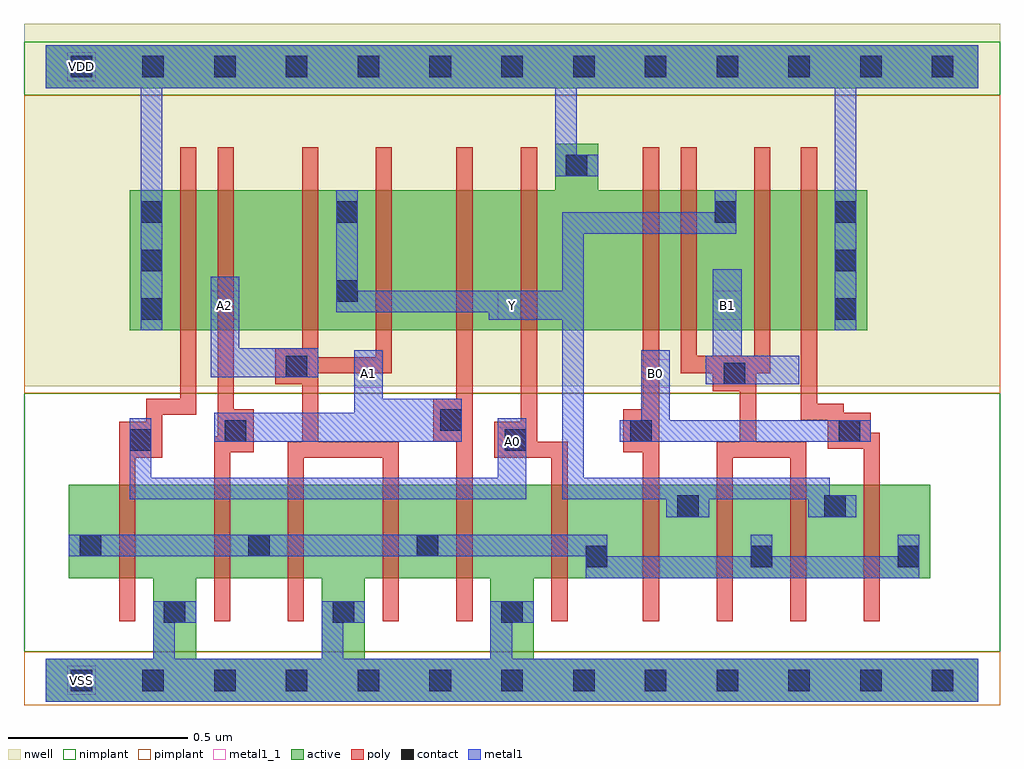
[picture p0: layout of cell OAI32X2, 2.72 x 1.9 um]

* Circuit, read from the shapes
.subckt OAI32X2 A0 A1 A2 B0 B1 VDD VSS Y
M1 VSS A0 n1 VSS nfet w=0.26u l=0.045u m=2
M2 n1 A1 VSS VSS nfet w=0.26u l=0.045u m=2
M3 VSS A2 n1 VSS nfet w=0.26u l=0.045u m=2
M4 Y B0 n1 VSS nfet w=0.26u l=0.045u m=2
M5 n1 B1 Y VSS nfet w=0.26u l=0.045u m=2
M6 n2 A0 VDD VDD pfet w=0.39u l=0.045u
M7 n3 A1 n2 VDD pfet w=0.39u l=0.045u
M8 Y A2 n3 VDD pfet w=0.39u l=0.045u
M9 n4 A2 Y VDD pfet w=0.39u l=0.045u
M10 n5 A1 n4 VDD pfet w=0.39u l=0.045u
M11 VDD A0 n5 VDD pfet w=0.39u l=0.045u
M12 n6 B0 VDD VDD pfet w=0.39u l=0.045u
M13 Y B1 n6 VDD pfet w=0.39u l=0.045u
M14 n7 B1 Y VDD pfet w=0.39u l=0.045u
M15 VDD B0 n7 VDD pfet w=0.39u l=0.045u
.ends

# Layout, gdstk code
import gdstk
lib = gdstk.Library(unit=1e-6, precision=5e-10)
def R(c, l, rs):  # rectangles x0, y0, x1, y1
    for r in rs: c.add(gdstk.rectangle(r[:2], r[2:], *l))
def A(c, l, x, y, w, h, nx, ny, dx, dy):  # array of equal rectangles
    R(c, l, [(x+i*dx, y+j*dy, x+i*dx+w, y+j*dy+h) for i in range(nx) for j in range(ny)])
def P(c, l, *ps):  # polygons
    for p in ps: c.add(gdstk.Polygon(p, *l))
active = (1, 0)
nwell = (2, 0)
poly = (3, 0)
nimplant = (4, 0)
pimplant = (5, 0)
contact = (6, 0)
metal1 = (7, 0)
metal1_1 = (7, 1)

oai32x2 = lib.new_cell('OAI32X2')
R(oai32x2, active, [(0,1.65,2.6,1.77)])
P(oai32x2, active, [(1.42,1.495),(1.54,1.495),(1.54,1.365),(2.29,1.365),(2.29,0.975),(0.235,0.975),(0.235,1.365),(1.42,1.365)],
  [(0.065,0.545),(2.465,0.545),(2.465,0.285),(1.36,0.285),(1.36,0.06),(2.6,0.06),(2.6,-0.06),(0,-0.06),(0,0.06),(0.3,0.06),(0.3,0.285),(0.42,0.285),(0.42,0.06),(0.77,0.06),(0.77,0.285),(0.89,0.285),(0.89,0.06),(1.24,0.06),(1.24,0.285),(0.065,0.285)])
R(oai32x2, nwell, [(-0.06,0.82,2.66,1.83)])
P(oai32x2, poly, [(0.375,1.485),(0.42,1.485),(0.42,0.74),(0.325,0.74),(0.325,0.62),(0.25,0.62),(0.25,0.165),(0.205,0.165),(0.205,0.72),(0.28,0.72),(0.28,0.785),(0.375,0.785)],
  [(0.48,1.485),(0.525,1.485),(0.525,0.755),(0.58,0.755),(0.58,0.635),(0.515,0.635),(0.515,0.165),(0.47,0.165),(0.47,0.68),(0.48,0.68)],
  [(0.715,1.485),(0.76,1.485),(0.76,0.9),(0.92,0.9),(0.92,1.485),(0.965,1.485),(0.965,0.855),(0.76,0.855),(0.76,0.665),(0.985,0.665),(0.985,0.165),(0.94,0.165),(0.94,0.62),(0.72,0.62),(0.72,0.165),(0.675,0.165),(0.675,0.665),(0.715,0.665),(0.715,0.825),(0.64,0.825),(0.64,0.925),(0.715,0.925)],
  [(1.145,1.485),(1.19,1.485),(1.19,0.165),(1.145,0.165),(1.145,0.665),(1.08,0.665),(1.08,0.785),(1.145,0.785)],
  [(1.325,1.485),(1.37,1.485),(1.37,0.665),(1.455,0.665),(1.455,0.165),(1.41,0.165),(1.41,0.62),(1.25,0.62),(1.25,0.72),(1.325,0.72)],
  [(1.665,1.485),(1.71,1.485),(1.71,0.165),(1.665,0.165),(1.665,0.635),(1.61,0.635),(1.61,0.755),(1.665,0.755)],
  [(1.77,1.485),(1.815,1.485),(1.815,0.905),(1.975,0.905),(1.975,1.485),(2.02,1.485),(2.02,0.855),(1.98,0.855),(1.98,0.665),(2.12,0.665),(2.12,0.165),(2.075,0.165),(2.075,0.62),(1.915,0.62),(1.915,0.165),(1.87,0.165),(1.87,0.665),(1.935,0.665),(1.935,0.805),(1.86,0.805),(1.86,0.855),(1.77,0.855)],
  [(2.105,1.485),(2.15,1.485),(2.15,0.77),(2.225,0.77),(2.225,0.745),(2.3,0.745),(2.3,0.69),(2.325,0.69),(2.325,0.165),(2.28,0.165),(2.28,0.645),(2.18,0.645),(2.18,0.725),(2.105,0.725)])
R(oai32x2, nimplant, [(-0.06,0.08,2.66,0.8), (-0.06,1.63,2.66,1.78)])
R(oai32x2, pimplant, [(-0.06,-0.07,2.66,0.08), (-0.06,0.8,2.66,1.63)])
A(oai32x2, contact, 0.07, -0.03, 0.06, 0.06, 13, 2, 0.2, 1.71)
A(oai32x2, contact, 0.33, 0.16, 0.06, 0.06, 3, 1, 0.47, 0)
A(oai32x2, contact, 0.095, 0.345, 0.06, 0.06, 3, 1, 0.47, 0)
A(oai32x2, contact, 0.265, 1.005, 0.06, 0.06, 1, 3, 0, 0.135)
A(oai32x2, contact, 2.2, 1.005, 0.06, 0.06, 1, 3, 0, 0.135)
R(oai32x2, contact, [(1.505,0.315,1.565,0.375), (1.965,0.315,2.025,0.375), (2.375,0.315,2.435,0.375), (1.76,0.455,1.82,0.515), (2.17,0.455,2.23,0.515), (0.235,0.64,0.295,0.7), (1.28,0.64,1.34,0.7), (0.5,0.665,0.56,0.725), (1.63,0.665,1.69,0.725), (2.21,0.665,2.27,0.725), (1.1,0.695,1.16,0.755), (1.89,0.825,1.95,0.885), (0.67,0.845,0.73,0.905), (0.81,1.055,0.87,1.115), (0.81,1.275,0.87,1.335), (1.865,1.275,1.925,1.335), (1.45,1.405,1.51,1.465)])
P(oai32x2, metal1, [(0,1.77),(2.6,1.77),(2.6,1.65),(2.26,1.65),(2.26,0.975),(2.2,0.975),(2.2,1.65),(1.48,1.65),(1.48,1.465),(1.54,1.465),(1.54,1.405),(1.42,1.405),(1.42,1.65),(0.325,1.65),(0.325,0.975),(0.265,0.975),(0.265,1.65),(0,1.65)],
  [(0.81,1.365),(0.87,1.365),(0.87,1.085),(1.44,1.085),(1.44,1.305),(1.865,1.305),(1.865,1.365),(1.925,1.365),(1.925,1.245),(1.5,1.245),(1.5,0.565),(2.185,0.565),(2.185,0.515),(2.26,0.515),(2.26,0.455),(2.125,0.455),(2.125,0.505),(1.85,0.505),(1.85,0.455),(1.73,0.455),(1.73,0.505),(1.44,0.505),(1.44,1.005),(1.235,1.005),(1.235,1.025),(0.81,1.025)],
  [(0.46,1.125),(0.54,1.125),(0.54,0.925),(0.76,0.925),(0.76,0.845),(0.46,0.845)],
  [(0.86,0.92),(0.94,0.92),(0.94,0.785),(1.16,0.785),(1.16,0.665),(0.47,0.665),(0.47,0.745),(0.86,0.745)],
  [(0.235,0.73),(0.295,0.73),(0.295,0.565),(1.26,0.565),(1.26,0.73),(1.34,0.73),(1.34,0.505),(0.235,0.505)],
  [(1.86,1.145),(1.94,1.145),(1.94,0.905),(2.1,0.905),(2.1,0.825),(1.84,0.825),(1.84,0.905),(1.86,0.905)],
  [(1.66,0.92),(1.74,0.92),(1.74,0.725),(2.3,0.725),(2.3,0.665),(1.6,0.665),(1.6,0.725),(1.66,0.725)],
  [(0.065,0.405),(1.565,0.405),(1.565,0.345),(1.965,0.345),(1.965,0.405),(2.025,0.405),(2.025,0.345),(2.375,0.345),(2.375,0.405),(2.435,0.405),(2.435,0.285),(1.505,0.285),(1.505,0.345),(0.065,0.345)],
  [(0.3,0.22),(0.42,0.22),(0.42,0.16),(0.36,0.16),(0.36,0.06),(0.77,0.06),(0.77,0.22),(0.89,0.22),(0.89,0.16),(0.83,0.16),(0.83,0.06),(1.24,0.06),(1.24,0.22),(1.36,0.22),(1.36,0.16),(1.3,0.16),(1.3,0.06),(2.6,0.06),(2.6,-0.06),(0,-0.06),(0,0.06),(0.3,0.06)])
R(oai32x2, metal1_1, [(0.06,-0.04,0.14,0.04), (1.26,0.625,1.34,0.705), (0.86,0.815,0.94,0.895), (1.66,0.815,1.74,0.895), (0.46,1.005,0.54,1.085), (1.26,1.005,1.34,1.085), (1.86,1.005,1.94,1.085), (0.06,1.67,0.14,1.75)])
oai32x2.add(gdstk.Label('Y', (1.3,1.045), layer=7, texttype=1))
oai32x2.add(gdstk.Label('A2', (0.5,1.045), layer=7, texttype=1))
oai32x2.add(gdstk.Label('A1', (0.9,0.855), layer=7, texttype=1))
oai32x2.add(gdstk.Label('B1', (1.9,1.045), layer=7, texttype=1))
oai32x2.add(gdstk.Label('A0', (1.3,0.665), layer=7, texttype=1))
oai32x2.add(gdstk.Label('B0', (1.7,0.855), layer=7, texttype=1))
oai32x2.add(gdstk.Label('VDD', (0.1,1.71), layer=7, texttype=1))
oai32x2.add(gdstk.Label('VSS', (0.1,0), layer=7, texttype=1))
oai32x2.add(gdstk.Label('OAI32X2', (0,0), layer=63, texttype=0))

lib.write_gds('OAI32X2.gds')
